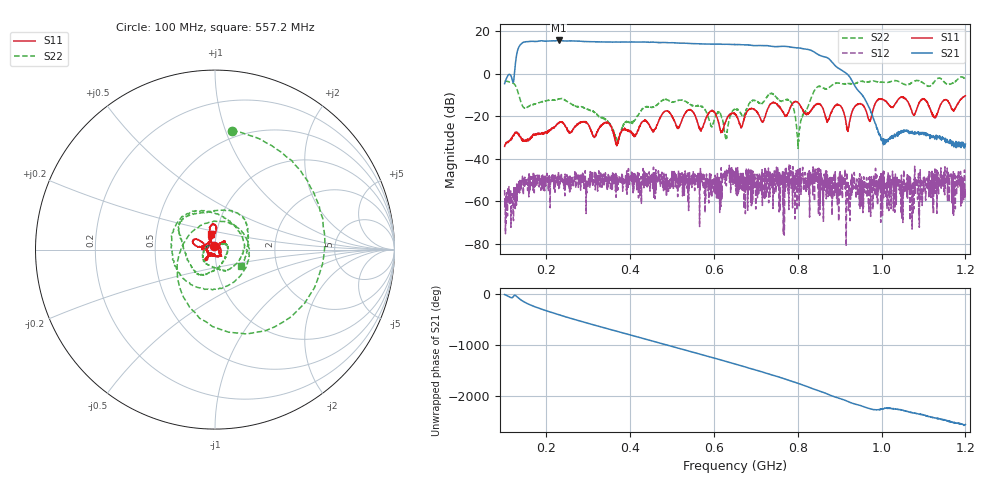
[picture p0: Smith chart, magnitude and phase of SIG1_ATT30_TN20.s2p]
# Hz S DB R 50
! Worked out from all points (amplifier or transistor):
!   1601 points, 100 MHz to 1.2 GHz, reference 50 ohm
!   highest |S21| = 15.6 dB at 229.2 MHz (marker M1)
!   |S21| within 3 dB of that: 134.3 MHz to 779.5 MHz (645.2 MHz wide, 141 % of centre)
!   unconditionally stable (mu >= 1): start of sweep to end of sweep
!   at 282.9 MHz: K = 23.05, MAG = 15.3 dB, |S12| = -48.7 dB
!   at 650 MHz: K = 27.66, MAG = 13.7 dB, |S12| = -48.7 dB
!   at 1.2 GHz: K = 7701.83, MAG = -29.5 dB, |S12| = -57.9 dB
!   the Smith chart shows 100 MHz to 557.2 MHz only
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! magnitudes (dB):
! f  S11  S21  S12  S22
! 100 MHz  -34.2  -4.7  -54.7  -3.5
! 141.9 MHz  -31.2  14.3  -51.1  -14.9
! 229.2 MHz  -23.1  15.6  -54.0  -11.9
! 283.6 MHz  -23.0  15.1  -49.8  -15.5
! 369.5 MHz  -31.7  14.8  -49.4  -31.4
! 467.1 MHz  -22.7  14.6  -45.7  -14.1
! 611.5 MHz  -23.2  13.8  -48.8  -17.9
! 628 MHz  -22.4  13.8  -47.9  -30.1
! 650 MHz  -19.2  13.6  -48.7  -16.7
! 716 MHz  -22.6  13.1  -49.6  -13.7
! 738.7 MHz  -13.7  12.8  -46.4  -9.4
! 782.7 MHz  -15.9  12.4  -47.0  -13.1
! 801.2 MHz  -13.8  12.1  -48.3  -30.8
! 833.6 MHz  -16.8  10.7  -47.6  -10.5
! 898.2 MHz  -14.7  2.4  -53.9  -4.4
! 919.5 MHz  -27.2  -0.5  -59.9  -4.7
! 943.6 MHz  -14.2  -7.9  -53.8  -4.1
! 971.1 MHz  -22.3  -16.2  -56.6  -3.8
! 1.017 GHz  -14.7  -31.0  -64.4  -4.1
! 1.101 GHz  -11.9  -28.8  -50.1  -4.7
! 1.127 GHz  -20.6  -30.8  -44.8  -3.5
! 1.2 GHz  -10.4  -33.1  -57.9  -2.8
